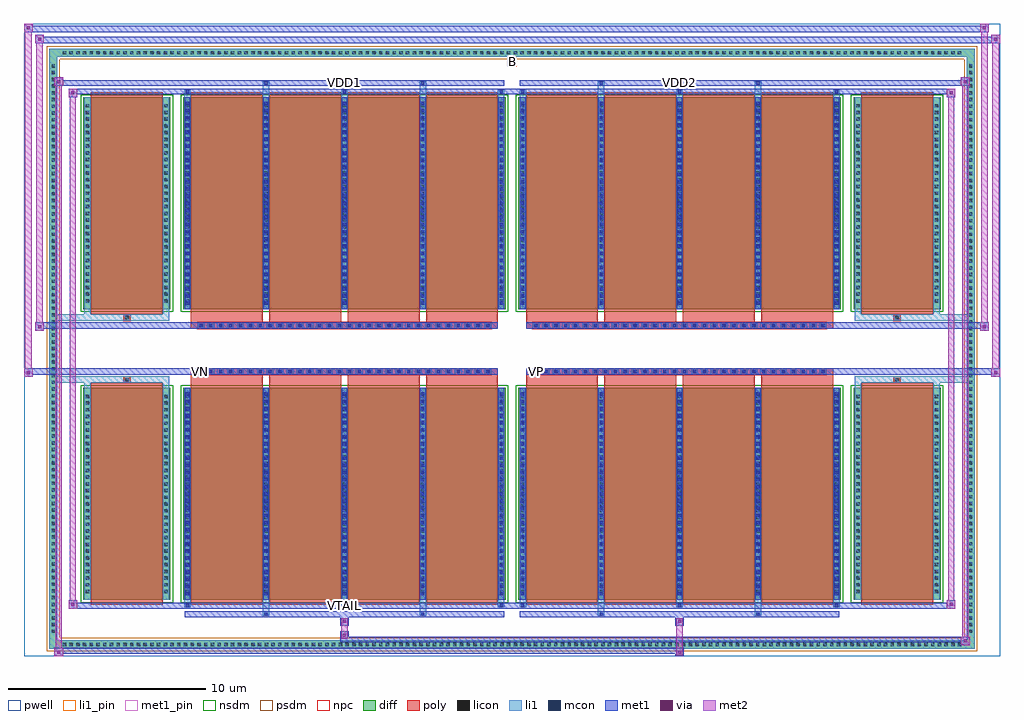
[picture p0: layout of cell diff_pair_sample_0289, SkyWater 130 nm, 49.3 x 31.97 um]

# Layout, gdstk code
import gdstk
lib = gdstk.Library(unit=1e-6, precision=5e-09)
def R(c, l, rs):  # rectangles x0, y0, x1, y1
    for r in rs: c.add(gdstk.rectangle(r[:2], r[2:], *l))
def A(c, l, x, y, w, h, nx, ny, dx, dy):  # array of equal rectangles
    R(c, l, [(x+i*dx, y+j*dy, x+i*dx+w, y+j*dy+h) for i in range(nx) for j in range(ny)])
def P(c, l, *ps):  # polygons
    for p in ps: c.add(gdstk.Polygon(p, *l))
pwell = (64, 44)
diff = (65, 20)
poly = (66, 20)
licon = (66, 44)
li1_pin = (67, 16)
li1 = (67, 20)
mcon = (67, 44)
met1_pin = (68, 16)
met1 = (68, 20)
via = (68, 44)
met2 = (69, 20)
nsdm = (93, 44)
psdm = (94, 20)
npc = (95, 20)

diff_pair_sample_0289 = lib.new_cell('diff_pair_sample_0289')
R(diff_pair_sample_0289, pwell, [(-24.65,-15.55,24.65,16.42), (-21.97,-13.74,-0.01,-0.8), (0.01,-13.74,21.97,-0.8), (-21.97,0.8,-0.01,13.74), (0.01,0.8,21.97,13.74)])
A(diff_pair_sample_0289, diff, -22.815, -15.15, 0.41, 0.41, 134, 2, 0.34, 29.89)
A(diff_pair_sample_0289, diff, -23.38, -14.485, 0.41, 0.41, 1, 85, 0, 0.34)
A(diff_pair_sample_0289, diff, 22.97, -14.485, 0.41, 0.41, 1, 85, 0, 0.34)
R(diff_pair_sample_0289, diff, [(-22.815,-15.15,22.815,-14.74), (-23.38,-14.485,-22.97,14.485), (22.97,-14.485,23.38,14.485), (-21.66,-12.695,-17.25,-1.985), (-16.61,-12.695,-0.32,-1.985), (0.32,-12.695,16.61,-1.985), (17.25,-12.695,21.66,-1.985), (-21.66,1.985,-17.25,12.695), (-16.61,1.985,-0.32,12.695), (0.32,1.985,16.61,12.695), (17.25,1.985,21.66,12.695), (-22.815,14.74,22.815,15.15)])
P(diff_pair_sample_0289, diff, [(23.38,15.15),(-23.38,15.15),(-23.38,-14.74),(-22.97,-14.74),(-22.97,14.74),(22.97,14.74),(22.97,-14.74),(-22.97,-14.74),(-23.38,-14.74),(-23.38,-15.15),(23.38,-15.15)])
A(diff_pair_sample_0289, poly, -16.22, -12.945, 3.63, 11.21, 4, 2, 3.96, 14.68)
A(diff_pair_sample_0289, poly, 0.71, -12.945, 3.63, 11.21, 4, 2, 3.96, 14.68)
A(diff_pair_sample_0289, poly, -16.22, -1.735, 3.63, 0.405, 4, 2, 3.96, 3.065)
A(diff_pair_sample_0289, poly, 0.71, -1.735, 3.63, 0.405, 4, 2, 3.96, 3.065)
A(diff_pair_sample_0289, poly, -15.88, -1.33, 0.33, 0.33, 30, 2, 0.5, 2.33)
A(diff_pair_sample_0289, poly, 1.05, -1.33, 0.33, 0.33, 30, 2, 0.5, 2.33)
R(diff_pair_sample_0289, poly, [(-21.27,-12.945,-17.64,-1.735), (17.64,-12.945,21.27,-1.735), (-19.62,-1.735,-19.29,-1.405), (-19.62,-1.735,-19.29,-1.405), (19.29,-1.735,19.62,-1.405), (19.29,-1.735,19.62,-1.405), (-16.22,-1.33,-0.71,-1), (0.71,-1.33,16.22,-1), (-16.22,1,-0.71,1.33), (0.71,1,16.22,1.33), (-19.62,1.405,-19.29,1.735), (-19.62,1.405,-19.29,1.735), (19.29,1.405,19.62,1.735), (19.29,1.405,19.62,1.735), (-21.27,1.735,-17.64,12.945), (17.64,1.735,21.27,12.945)])
A(diff_pair_sample_0289, licon, -22.695, -15.03, 0.17, 0.17, 134, 2, 0.34, 29.89)
A(diff_pair_sample_0289, licon, -23.26, -14.365, 0.17, 0.17, 1, 85, 0, 0.34)
A(diff_pair_sample_0289, licon, 23.09, -14.365, 0.17, 0.17, 1, 85, 0, 0.34)
A(diff_pair_sample_0289, licon, -21.52, -12.355, 0.17, 0.17, 1, 30, 0, 0.34)
A(diff_pair_sample_0289, licon, -17.56, -12.355, 0.17, 0.17, 1, 30, 0, 0.34)
A(diff_pair_sample_0289, licon, -16.47, -12.355, 0.17, 0.17, 5, 30, 3.96, 0.34)
A(diff_pair_sample_0289, licon, 0.46, -12.355, 0.17, 0.17, 5, 30, 3.96, 0.34)
A(diff_pair_sample_0289, licon, 17.39, -12.355, 0.17, 0.17, 1, 30, 0, 0.34)
A(diff_pair_sample_0289, licon, 21.35, -12.355, 0.17, 0.17, 1, 30, 0, 0.34)
A(diff_pair_sample_0289, licon, -15.8, -1.25, 0.17, 0.17, 30, 2, 0.5, 2.33)
A(diff_pair_sample_0289, licon, 1.13, -1.25, 0.17, 0.17, 30, 2, 0.5, 2.33)
A(diff_pair_sample_0289, licon, -21.52, 2.325, 0.17, 0.17, 1, 30, 0, 0.34)
A(diff_pair_sample_0289, licon, -17.56, 2.325, 0.17, 0.17, 1, 30, 0, 0.34)
A(diff_pair_sample_0289, licon, -16.47, 2.325, 0.17, 0.17, 5, 30, 3.96, 0.34)
A(diff_pair_sample_0289, licon, 0.46, 2.325, 0.17, 0.17, 5, 30, 3.96, 0.34)
A(diff_pair_sample_0289, licon, 17.39, 2.325, 0.17, 0.17, 1, 30, 0, 0.34)
A(diff_pair_sample_0289, licon, 21.35, 2.325, 0.17, 0.17, 1, 30, 0, 0.34)
R(diff_pair_sample_0289, licon, [(-19.54,-1.655,-19.37,-1.485), (19.37,-1.655,19.54,-1.485), (-19.54,1.485,-19.37,1.655), (19.37,1.485,19.54,1.655)])
R(diff_pair_sample_0289, li1_pin, [(-0.25,14.24,0.25,14.74)])
A(diff_pair_sample_0289, li1, -22.775, -15.11, 0.33, 0.33, 134, 2, 0.34, 29.89)
A(diff_pair_sample_0289, li1, -23.34, -14.445, 0.33, 0.33, 1, 85, 0, 0.34)
A(diff_pair_sample_0289, li1, 23.01, -14.445, 0.33, 0.33, 1, 85, 0, 0.34)
A(diff_pair_sample_0289, li1, -16.55, -13.07, 0.33, 0.375, 3, 2, 7.92, 25.765)
A(diff_pair_sample_0289, li1, -16.47, -13.07, 0.17, 0.17, 3, 2, 7.92, 25.97)
A(diff_pair_sample_0289, li1, 0.38, -13.07, 0.33, 0.375, 3, 2, 7.92, 25.765)
A(diff_pair_sample_0289, li1, 0.46, -13.07, 0.17, 0.17, 3, 2, 7.92, 25.97)
A(diff_pair_sample_0289, li1, -16.55, -12.695, 0.33, 10.71, 5, 2, 3.96, 14.68)
A(diff_pair_sample_0289, li1, 0.38, -12.695, 0.33, 10.71, 5, 2, 3.96, 14.68)
A(diff_pair_sample_0289, li1, -16.47, -12.465, 0.17, 0.17, 5, 29, 3.96, 0.36)
A(diff_pair_sample_0289, li1, -16.47, -12.465, 0.17, 10.25, 5, 2, 3.96, 14.68)
A(diff_pair_sample_0289, li1, 0.46, -12.465, 0.17, 0.17, 5, 29, 3.96, 0.36)
A(diff_pair_sample_0289, li1, 0.46, -12.465, 0.17, 10.25, 5, 2, 3.96, 14.68)
A(diff_pair_sample_0289, li1, -21.6, -12.435, 0.33, 0.33, 1, 30, 0, 0.34)
A(diff_pair_sample_0289, li1, -17.64, -12.435, 0.33, 0.33, 1, 30, 0, 0.34)
A(diff_pair_sample_0289, li1, -16.55, -12.435, 0.33, 0.33, 5, 30, 3.96, 0.34)
A(diff_pair_sample_0289, li1, 0.38, -12.435, 0.33, 0.33, 5, 30, 3.96, 0.34)
A(diff_pair_sample_0289, li1, 17.31, -12.435, 0.33, 0.33, 1, 30, 0, 0.34)
A(diff_pair_sample_0289, li1, 21.27, -12.435, 0.33, 0.33, 1, 30, 0, 0.34)
A(diff_pair_sample_0289, li1, -15.88, -1.33, 0.33, 0.33, 30, 2, 0.5, 2.33)
A(diff_pair_sample_0289, li1, 1.05, -1.33, 0.33, 0.33, 30, 2, 0.5, 2.33)
A(diff_pair_sample_0289, li1, -16.47, 2.215, 0.17, 0.17, 5, 29, 3.96, 0.36)
A(diff_pair_sample_0289, li1, 0.46, 2.215, 0.17, 0.17, 5, 29, 3.96, 0.36)
A(diff_pair_sample_0289, li1, -21.6, 2.245, 0.33, 0.33, 1, 30, 0, 0.34)
A(diff_pair_sample_0289, li1, -17.64, 2.245, 0.33, 0.33, 1, 30, 0, 0.34)
A(diff_pair_sample_0289, li1, -16.55, 2.245, 0.33, 0.33, 5, 30, 3.96, 0.34)
A(diff_pair_sample_0289, li1, 0.38, 2.245, 0.33, 0.33, 5, 30, 3.96, 0.34)
A(diff_pair_sample_0289, li1, 17.31, 2.245, 0.33, 0.33, 1, 30, 0, 0.34)
A(diff_pair_sample_0289, li1, 21.27, 2.245, 0.33, 0.33, 1, 30, 0, 0.34)
R(diff_pair_sample_0289, li1, [(-23.38,-15.15,-22.97,-14.74), (-23.38,-15.15,-22.97,-14.74), (-22.97,-15.15,22.97,-14.74), (22.97,-15.15,23.38,-14.74), (22.97,-15.15,23.38,-14.74), (-23.38,-14.74,-22.97,14.74), (22.97,-14.74,23.38,14.74), (-12.59,-13.5,-12.26,-12.695), (-12.51,-13.5,-12.34,-13.33), (-4.67,-13.5,-4.34,-12.695), (-4.59,-13.5,-4.42,-13.33), (4.34,-13.5,4.67,-12.695), (4.42,-13.5,4.59,-13.33), (12.26,-13.5,12.59,-12.695), (12.34,-13.5,12.51,-13.33), (-21.6,-12.695,-21.27,-1.985), (-17.64,-12.695,-17.31,-1.985), (17.31,-12.695,17.64,-1.985), (21.27,-12.695,21.6,-1.985), (-21.6,-1.985,-21.27,-1.405), (-17.64,-1.985,-17.31,-1.405), (17.31,-1.985,17.64,-1.405), (21.27,-1.985,21.6,-1.405), (-23.38,-1.735,-19.62,-1.405), (-21.6,-1.735,-19.62,-1.405), (-19.62,-1.735,-19.29,-1.405), (-19.29,-1.735,-17.31,-1.405), (17.31,-1.735,19.29,-1.405), (19.29,-1.735,19.62,-1.405), (19.29,-1.735,23.38,-1.405), (19.62,-1.735,21.6,-1.405), (-23.38,1.405,-19.62,1.735), (-21.6,1.405,-19.62,1.735), (-21.6,1.405,-21.27,1.985), (-19.62,1.405,-19.29,1.735), (-19.29,1.405,-17.31,1.735), (-17.64,1.405,-17.31,1.985), (17.31,1.405,19.29,1.735), (17.31,1.405,17.64,1.985), (19.29,1.405,19.62,1.735), (19.29,1.405,23.38,1.735), (19.62,1.405,21.6,1.735), (21.27,1.405,21.6,1.985), (-21.6,1.985,-21.27,12.695), (-17.64,1.985,-17.31,12.695), (17.31,1.985,17.64,12.695), (21.27,1.985,21.6,12.695), (-12.59,12.695,-12.26,13.5), (-4.67,12.695,-4.34,13.5), (4.34,12.695,4.67,13.5), (12.26,12.695,12.59,13.5), (-12.51,13.33,-12.34,13.5), (-4.59,13.33,-4.42,13.5), (4.42,13.33,4.59,13.5), (12.34,13.33,12.51,13.5), (-23.38,14.74,-22.97,15.15), (-23.38,14.74,-22.97,15.15), (-22.97,14.74,22.97,15.15), (22.97,14.74,23.38,15.15), (22.97,14.74,23.38,15.15)])
A(diff_pair_sample_0289, mcon, -16.47, -13.07, 0.17, 0.17, 3, 2, 7.92, 25.97)
A(diff_pair_sample_0289, mcon, 0.46, -13.07, 0.17, 0.17, 3, 2, 7.92, 25.97)
A(diff_pair_sample_0289, mcon, -16.47, -12.465, 0.17, 0.17, 5, 29, 3.96, 0.36)
A(diff_pair_sample_0289, mcon, 0.46, -12.465, 0.17, 0.17, 5, 29, 3.96, 0.36)
A(diff_pair_sample_0289, mcon, -15.8, -1.25, 0.17, 0.17, 30, 2, 0.5, 2.33)
A(diff_pair_sample_0289, mcon, 1.13, -1.25, 0.17, 0.17, 30, 2, 0.5, 2.33)
A(diff_pair_sample_0289, mcon, -16.47, 2.215, 0.17, 0.17, 5, 29, 3.96, 0.36)
A(diff_pair_sample_0289, mcon, 0.46, 2.215, 0.17, 0.17, 5, 29, 3.96, 0.36)
R(diff_pair_sample_0289, mcon, [(-12.51,-13.5,-12.34,-13.33), (-4.59,-13.5,-4.42,-13.33), (4.42,-13.5,4.59,-13.33), (12.34,-13.5,12.51,-13.33), (-12.51,13.33,-12.34,13.5), (-4.59,13.33,-4.42,13.5), (4.42,13.33,4.59,13.5), (12.34,13.33,12.51,13.5)])
R(diff_pair_sample_0289, met1_pin, [(-8.6,-13.11,-8.33,-12.84), (-15.85,-1.29,-15.58,-1.02), (1.08,-1.29,1.35,-1.02), (-8.6,13.29,-8.33,13.56), (8.33,13.29,8.6,13.56)])
A(diff_pair_sample_0289, met1, -16.53, -13.13, 0.29, 0.29, 3, 2, 7.92, 25.97)
A(diff_pair_sample_0289, met1, 0.4, -13.13, 0.29, 0.29, 3, 2, 7.92, 25.97)
A(diff_pair_sample_0289, met1, -16.53, -12.695, 0.29, 10.71, 5, 2, 3.96, 14.68)
A(diff_pair_sample_0289, met1, 0.4, -12.695, 0.29, 10.71, 5, 2, 3.96, 14.68)
A(diff_pair_sample_0289, met1, -16.53, -12.525, 0.29, 0.29, 5, 29, 3.96, 0.36)
A(diff_pair_sample_0289, met1, 0.4, -12.525, 0.29, 0.29, 5, 29, 3.96, 0.36)
A(diff_pair_sample_0289, met1, -15.86, -1.31, 0.29, 0.29, 30, 2, 0.5, 2.33)
A(diff_pair_sample_0289, met1, 1.07, -1.31, 0.29, 0.29, 30, 2, 0.5, 2.33)
A(diff_pair_sample_0289, met1, -16.53, 2.155, 0.29, 0.29, 5, 29, 3.96, 0.36)
A(diff_pair_sample_0289, met1, 0.4, 2.155, 0.29, 0.29, 5, 29, 3.96, 0.36)
R(diff_pair_sample_0289, met1, [(-23.11,-15.55,-22.68,-15.12), (8.25,-15.55,8.68,-15.12), (-23.11,-15.41,8.68,-15.12), (22.68,-14.98,23.11,-14.55), (-8.68,-14.84,23.11,-14.55), (-8.68,-14.7,-8.25,-14.27), (-8.68,-13.99,-8.25,-13.56), (8.25,-13.99,8.68,-13.56), (-16.53,-13.56,-0.4,-13.27), (-12.57,-13.56,-12.28,-13.27), (-4.65,-13.56,-4.36,-13.27), (0.4,-13.56,16.53,-13.27), (4.36,-13.56,4.65,-13.27), (12.28,-13.56,12.57,-13.27), (-22.4,-13.13,-21.97,-12.7), (-22.4,-13.13,-16.53,-12.84), (-16.53,-13.13,-0.4,-12.84), (-0.4,-13.13,0.4,-12.84), (0.4,-13.13,16.53,-12.84), (16.53,-13.13,22.4,-12.84), (21.97,-13.13,22.4,-12.7), (-24.65,-1.43,-24.22,-1), (24.22,-1.43,24.65,-1), (-24.65,-1.33,-0.71,-1), (-16.22,-1.33,-0.71,-1), (0.71,-1.33,16.22,-1), (0.71,-1.33,24.65,-1), (-24.08,0.9,-23.65,1.33), (23.65,0.9,24.08,1.33), (-24.08,1,-16.22,1.33), (-16.22,1,-0.71,1.33), (0.71,1,16.22,1.33), (16.22,1,24.08,1.33), (-22.4,12.7,-21.97,13.13), (21.97,12.7,22.4,13.13), (-22.4,12.84,-16.53,13.13), (-16.53,12.84,-0.4,13.13), (-0.4,12.84,0.4,13.13), (0.4,12.84,16.53,13.13), (16.53,12.84,22.4,13.13), (-23.11,13.27,-22.68,13.7), (-23.11,13.27,-16.53,13.56), (-16.53,13.27,-0.4,13.56), (-12.57,13.27,-12.28,13.56), (-4.65,13.27,-4.36,13.56), (0.4,13.27,16.53,13.56), (4.36,13.27,4.65,13.56), (12.28,13.27,12.57,13.56), (16.53,13.27,23.11,13.56), (22.68,13.27,23.11,13.7), (-24.08,15.42,-23.65,15.85), (-24.08,15.42,-21.97,15.75), (-21.97,15.42,21.97,15.75), (21.97,15.42,24.65,15.75), (24.22,15.42,24.65,15.85), (-24.65,15.99,-24.22,16.42), (-24.65,15.99,-21.97,16.32), (-21.97,15.99,21.97,16.32), (21.97,15.99,24.08,16.32), (23.65,15.99,24.08,16.42)])
R(diff_pair_sample_0289, via, [(-22.97,-15.41,-22.82,-15.26), (8.39,-15.41,8.54,-15.26), (22.82,-14.84,22.97,-14.69), (-8.54,-14.56,-8.39,-14.41), (-8.54,-13.85,-8.39,-13.7), (8.39,-13.85,8.54,-13.7), (-22.26,-12.99,-22.11,-12.84), (22.11,-12.99,22.26,-12.84), (-24.51,-1.29,-24.36,-1.14), (24.36,-1.29,24.51,-1.14), (-23.94,1.04,-23.79,1.19), (23.79,1.04,23.94,1.19), (-22.26,12.84,-22.11,12.99), (22.11,12.84,22.26,12.99), (-22.97,13.41,-22.82,13.56), (22.82,13.41,22.97,13.56), (-23.94,15.56,-23.79,15.71), (24.36,15.56,24.51,15.71), (-24.51,16.13,-24.36,16.28), (23.79,16.13,23.94,16.28)])
R(diff_pair_sample_0289, met2, [(-23.11,-15.55,-22.68,-15.12), (-23.04,-15.55,-22.75,13.7), (-22.75,-15.55,-22.68,-15.12), (-23.06,-15.5,-22.73,-15.17), (8.3,-15.5,8.63,-15.17), (8.3,-15.17,8.63,-13.94), (22.68,-14.98,23.11,-14.55), (22.75,-14.98,23.04,13.7), (23.04,-14.98,23.11,-14.55), (22.73,-14.93,23.06,-14.6), (-8.63,-14.65,-8.3,-14.32), (-8.63,-14.32,-8.3,-13.94), (-8.63,-13.94,-8.3,-13.61), (8.3,-13.94,8.63,-13.61), (-22.4,-13.13,-21.97,-12.7), (-22.33,-13.13,-22.04,13.13), (-22.04,-13.13,-21.97,-12.7), (21.97,-13.13,22.4,-12.7), (22.04,-13.13,22.33,13.13), (22.33,-13.13,22.4,-12.7), (-22.35,-13.08,-22.02,-12.75), (22.02,-13.08,22.35,-12.75), (-24.65,-1.43,-24.22,-1), (-24.6,-1.43,-24.27,16.42), (-24.27,-1.43,-24.22,-1), (24.22,-1.43,24.65,-1), (24.27,-1.43,24.6,15.85), (24.6,-1.43,24.65,-1), (-24.6,-1.38,-24.27,-1.05), (24.27,-1.38,24.6,-1.05), (-24.08,0.9,-23.65,1.33), (-24.03,0.9,-23.7,15.85), (-23.7,0.9,-23.65,1.33), (23.65,0.9,24.08,1.33), (23.7,0.9,24.03,16.42), (24.03,0.9,24.08,1.33), (-24.03,0.95,-23.7,1.28), (23.7,0.95,24.03,1.28), (-22.4,12.7,-21.97,13.13), (-22.04,12.7,-21.97,13.13), (21.97,12.7,22.4,13.13), (22.33,12.7,22.4,13.13), (-22.35,12.75,-22.02,13.08), (22.02,12.75,22.35,13.08), (-23.11,13.27,-22.68,13.7), (-22.75,13.27,-22.68,13.7), (22.68,13.27,23.11,13.7), (23.04,13.27,23.11,13.7), (-23.06,13.32,-22.73,13.65), (22.73,13.32,23.06,13.65), (-24.08,15.42,-23.65,15.85), (-23.7,15.42,-23.65,15.85), (24.22,15.42,24.65,15.85), (24.6,15.42,24.65,15.85), (-24.03,15.47,-23.7,15.8), (24.27,15.47,24.6,15.8), (-24.65,15.99,-24.22,16.42), (-24.27,15.99,-24.22,16.42), (23.65,15.99,24.08,16.42), (24.03,15.99,24.08,16.42), (-24.6,16.04,-24.27,16.37), (23.7,16.04,24.03,16.37)])
R(diff_pair_sample_0289, nsdm, [(-21.79,-12.825,-17.12,-1.855), (-16.74,-12.825,-0.19,-1.855), (0.19,-12.825,16.74,-1.855), (17.12,-12.825,21.79,-1.855), (-21.79,1.855,-17.12,12.825), (-16.74,1.855,-0.19,12.825), (0.19,1.855,16.74,12.825), (17.12,1.855,21.79,12.825)])
P(diff_pair_sample_0289, psdm, [(23.51,15.28),(-23.51,15.28),(-23.51,-14.61),(-22.84,-14.61),(-22.84,14.61),(22.84,14.61),(22.84,-14.61),(-22.84,-14.61),(-23.51,-14.61),(-23.51,-15.28),(23.51,-15.28)])
A(diff_pair_sample_0289, npc, -15.9, -1.35, 0.37, 0.37, 30, 2, 0.5, 2.33)
A(diff_pair_sample_0289, npc, 1.03, -1.35, 0.37, 0.37, 30, 2, 0.5, 2.33)
R(diff_pair_sample_0289, npc, [(-19.64,-1.755,-19.27,-1.385), (19.27,-1.755,19.64,-1.385), (-15.9,-1.35,-15.03,-0.98), (-15.9,-1.35,-15.03,-0.98), (-15.4,-1.35,-14.53,-0.98), (-15.4,-1.35,-14.53,-0.98), (-14.9,-1.35,-14.03,-0.98), (-14.9,-1.35,-14.03,-0.98), (-14.4,-1.35,-13.53,-0.98), (-14.4,-1.35,-13.53,-0.98), (-13.9,-1.35,-13.03,-0.98), (-13.9,-1.35,-13.03,-0.98), (-13.4,-1.35,-12.53,-0.98), (-13.4,-1.35,-12.53,-0.98), (-12.9,-1.35,-12.03,-0.98), (-12.9,-1.35,-12.03,-0.98), (-12.4,-1.35,-11.53,-0.98), (-12.4,-1.35,-11.53,-0.98), (-11.9,-1.35,-11.03,-0.98), (-11.9,-1.35,-11.03,-0.98), (-11.4,-1.35,-10.53,-0.98), (-11.4,-1.35,-10.53,-0.98), (-10.9,-1.35,-10.03,-0.98), (-10.9,-1.35,-10.03,-0.98), (-10.4,-1.35,-9.53,-0.98), (-10.4,-1.35,-9.53,-0.98), (-9.9,-1.35,-9.03,-0.98), (-9.9,-1.35,-9.03,-0.98), (-9.4,-1.35,-8.53,-0.98), (-9.4,-1.35,-8.53,-0.98), (-8.9,-1.35,-8.03,-0.98), (-8.9,-1.35,-8.03,-0.98), (-8.4,-1.35,-7.53,-0.98), (-8.4,-1.35,-7.53,-0.98), (-7.9,-1.35,-7.03,-0.98), (-7.9,-1.35,-7.03,-0.98), (-7.4,-1.35,-6.53,-0.98), (-7.4,-1.35,-6.53,-0.98), (-6.9,-1.35,-6.03,-0.98), (-6.9,-1.35,-6.03,-0.98), (-6.4,-1.35,-5.53,-0.98), (-6.4,-1.35,-5.53,-0.98), (-5.9,-1.35,-5.03,-0.98), (-5.9,-1.35,-5.03,-0.98), (-5.4,-1.35,-4.53,-0.98), (-5.4,-1.35,-4.53,-0.98), (-4.9,-1.35,-4.03,-0.98), (-4.9,-1.35,-4.03,-0.98), (-4.4,-1.35,-3.53,-0.98), (-4.4,-1.35,-3.53,-0.98), (-3.9,-1.35,-3.03,-0.98), (-3.9,-1.35,-3.03,-0.98), (-3.4,-1.35,-2.53,-0.98), (-3.4,-1.35,-2.53,-0.98), (-2.9,-1.35,-2.03,-0.98), (-2.9,-1.35,-2.03,-0.98), (-2.4,-1.35,-1.53,-0.98), (-2.4,-1.35,-1.53,-0.98), (-1.9,-1.35,-1.03,-0.98), (-1.9,-1.35,-1.03,-0.98), (1.03,-1.35,1.9,-0.98), (1.03,-1.35,1.9,-0.98), (1.53,-1.35,2.4,-0.98), (1.53,-1.35,2.4,-0.98), (2.03,-1.35,2.9,-0.98), (2.03,-1.35,2.9,-0.98), (2.53,-1.35,3.4,-0.98), (2.53,-1.35,3.4,-0.98), (3.03,-1.35,3.9,-0.98), (3.03,-1.35,3.9,-0.98), (3.53,-1.35,4.4,-0.98), (3.53,-1.35,4.4,-0.98), (4.03,-1.35,4.9,-0.98), (4.03,-1.35,4.9,-0.98), (4.53,-1.35,5.4,-0.98), (4.53,-1.35,5.4,-0.98), (5.03,-1.35,5.9,-0.98), (5.03,-1.35,5.9,-0.98), (5.53,-1.35,6.4,-0.98), (5.53,-1.35,6.4,-0.98), (6.03,-1.35,6.9,-0.98), (6.03,-1.35,6.9,-0.98), (6.53,-1.35,7.4,-0.98), (6.53,-1.35,7.4,-0.98), (7.03,-1.35,7.9,-0.98), (7.03,-1.35,7.9,-0.98), (7.53,-1.35,8.4,-0.98), (7.53,-1.35,8.4,-0.98), (8.03,-1.35,8.9,-0.98), (8.03,-1.35,8.9,-0.98), (8.53,-1.35,9.4,-0.98), (8.53,-1.35,9.4,-0.98), (9.03,-1.35,9.9,-0.98), (9.03,-1.35,9.9,-0.98), (9.53,-1.35,10.4,-0.98), (9.53,-1.35,10.4,-0.98), (10.03,-1.35,10.9,-0.98), (10.03,-1.35,10.9,-0.98), (10.53,-1.35,11.4,-0.98), (10.53,-1.35,11.4,-0.98), (11.03,-1.35,11.9,-0.98), (11.03,-1.35,11.9,-0.98), (11.53,-1.35,12.4,-0.98), (11.53,-1.35,12.4,-0.98), (12.03,-1.35,12.9,-0.98), (12.03,-1.35,12.9,-0.98), (12.53,-1.35,13.4,-0.98), (12.53,-1.35,13.4,-0.98), (13.03,-1.35,13.9,-0.98), (13.03,-1.35,13.9,-0.98), (13.53,-1.35,14.4,-0.98), (13.53,-1.35,14.4,-0.98), (14.03,-1.35,14.9,-0.98), (14.03,-1.35,14.9,-0.98), (14.53,-1.35,15.4,-0.98), (14.53,-1.35,15.4,-0.98), (15.03,-1.35,15.9,-0.98), (15.03,-1.35,15.9,-0.98), (-15.9,0.98,-15.03,1.35), (-15.9,0.98,-15.03,1.35), (-15.4,0.98,-14.53,1.35), (-15.4,0.98,-14.53,1.35), (-14.9,0.98,-14.03,1.35), (-14.9,0.98,-14.03,1.35), (-14.4,0.98,-13.53,1.35), (-14.4,0.98,-13.53,1.35), (-13.9,0.98,-13.03,1.35), (-13.9,0.98,-13.03,1.35), (-13.4,0.98,-12.53,1.35), (-13.4,0.98,-12.53,1.35), (-12.9,0.98,-12.03,1.35), (-12.9,0.98,-12.03,1.35), (-12.4,0.98,-11.53,1.35), (-12.4,0.98,-11.53,1.35), (-11.9,0.98,-11.03,1.35), (-11.9,0.98,-11.03,1.35), (-11.4,0.98,-10.53,1.35), (-11.4,0.98,-10.53,1.35), (-10.9,0.98,-10.03,1.35), (-10.9,0.98,-10.03,1.35), (-10.4,0.98,-9.53,1.35), (-10.4,0.98,-9.53,1.35), (-9.9,0.98,-9.03,1.35), (-9.9,0.98,-9.03,1.35), (-9.4,0.98,-8.53,1.35), (-9.4,0.98,-8.53,1.35), (-8.9,0.98,-8.03,1.35), (-8.9,0.98,-8.03,1.35), (-8.4,0.98,-7.53,1.35), (-8.4,0.98,-7.53,1.35), (-7.9,0.98,-7.03,1.35), (-7.9,0.98,-7.03,1.35), (-7.4,0.98,-6.53,1.35), (-7.4,0.98,-6.53,1.35), (-6.9,0.98,-6.03,1.35), (-6.9,0.98,-6.03,1.35), (-6.4,0.98,-5.53,1.35), (-6.4,0.98,-5.53,1.35), (-5.9,0.98,-5.03,1.35), (-5.9,0.98,-5.03,1.35), (-5.4,0.98,-4.53,1.35), (-5.4,0.98,-4.53,1.35), (-4.9,0.98,-4.03,1.35), (-4.9,0.98,-4.03,1.35), (-4.4,0.98,-3.53,1.35), (-4.4,0.98,-3.53,1.35), (-3.9,0.98,-3.03,1.35), (-3.9,0.98,-3.03,1.35), (-3.4,0.98,-2.53,1.35), (-3.4,0.98,-2.53,1.35), (-2.9,0.98,-2.03,1.35), (-2.9,0.98,-2.03,1.35), (-2.4,0.98,-1.53,1.35), (-2.4,0.98,-1.53,1.35), (-1.9,0.98,-1.03,1.35), (-1.9,0.98,-1.03,1.35), (1.03,0.98,1.9,1.35), (1.03,0.98,1.9,1.35), (1.53,0.98,2.4,1.35), (1.53,0.98,2.4,1.35), (2.03,0.98,2.9,1.35), (2.03,0.98,2.9,1.35), (2.53,0.98,3.4,1.35), (2.53,0.98,3.4,1.35), (3.03,0.98,3.9,1.35), (3.03,0.98,3.9,1.35), (3.53,0.98,4.4,1.35), (3.53,0.98,4.4,1.35), (4.03,0.98,4.9,1.35), (4.03,0.98,4.9,1.35), (4.53,0.98,5.4,1.35), (4.53,0.98,5.4,1.35), (5.03,0.98,5.9,1.35), (5.03,0.98,5.9,1.35), (5.53,0.98,6.4,1.35), (5.53,0.98,6.4,1.35), (6.03,0.98,6.9,1.35), (6.03,0.98,6.9,1.35), (6.53,0.98,7.4,1.35), (6.53,0.98,7.4,1.35), (7.03,0.98,7.9,1.35), (7.03,0.98,7.9,1.35), (7.53,0.98,8.4,1.35), (7.53,0.98,8.4,1.35), (8.03,0.98,8.9,1.35), (8.03,0.98,8.9,1.35), (8.53,0.98,9.4,1.35), (8.53,0.98,9.4,1.35), (9.03,0.98,9.9,1.35), (9.03,0.98,9.9,1.35), (9.53,0.98,10.4,1.35), (9.53,0.98,10.4,1.35), (10.03,0.98,10.9,1.35), (10.03,0.98,10.9,1.35), (10.53,0.98,11.4,1.35), (10.53,0.98,11.4,1.35), (11.03,0.98,11.9,1.35), (11.03,0.98,11.9,1.35), (11.53,0.98,12.4,1.35), (11.53,0.98,12.4,1.35), (12.03,0.98,12.9,1.35), (12.03,0.98,12.9,1.35), (12.53,0.98,13.4,1.35), (12.53,0.98,13.4,1.35), (13.03,0.98,13.9,1.35), (13.03,0.98,13.9,1.35), (13.53,0.98,14.4,1.35), (13.53,0.98,14.4,1.35), (14.03,0.98,14.9,1.35), (14.03,0.98,14.9,1.35), (14.53,0.98,15.4,1.35), (14.53,0.98,15.4,1.35), (15.03,0.98,15.9,1.35), (15.03,0.98,15.9,1.35), (-19.64,1.385,-19.27,1.755), (19.27,1.385,19.64,1.755)])
diff_pair_sample_0289.add(gdstk.Label('VTAIL', (-8.465,-12.975), layer=68, texttype=5))
diff_pair_sample_0289.add(gdstk.Label('VN', (-15.715,-1.155), layer=68, texttype=5))
diff_pair_sample_0289.add(gdstk.Label('VP', (1.215,-1.155), layer=68, texttype=5))
diff_pair_sample_0289.add(gdstk.Label('B', (0,14.49), layer=67, texttype=5))
diff_pair_sample_0289.add(gdstk.Label('VDD2', (8.465,13.425), layer=68, texttype=5))
diff_pair_sample_0289.add(gdstk.Label('VDD1', (-8.465,13.425), layer=68, texttype=5))

lib.write_gds('diff_pair_sample_0289.gds')
